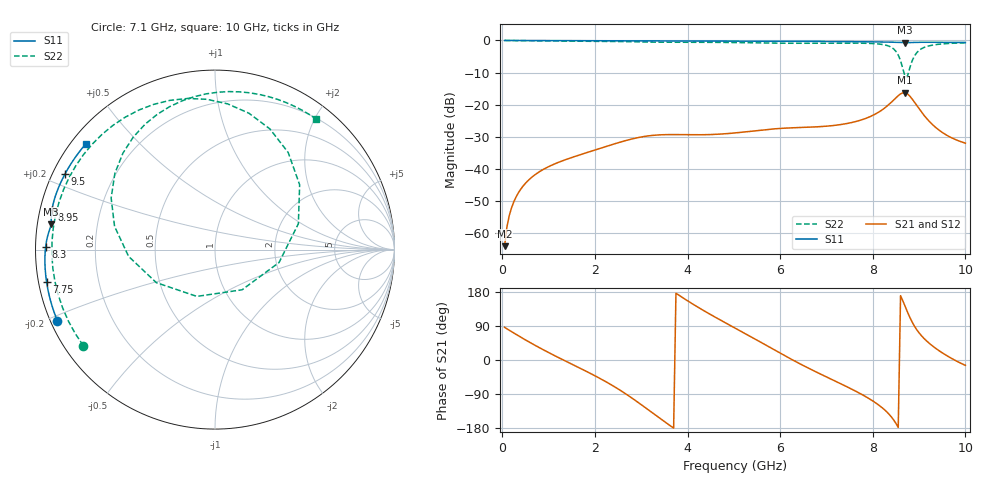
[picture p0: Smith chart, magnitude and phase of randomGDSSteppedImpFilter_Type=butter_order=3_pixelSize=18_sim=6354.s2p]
! freq	dB(S11)	phase(S11)	dB(S12)	phase(S12)
!  dB(S21)	phase(S21)	dB(S22)	phase(S22)
!S-par simulation data
#  GHz  S  DB  R 50
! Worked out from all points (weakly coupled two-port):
!   200 points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, 50 MHz to 10 GHz, reference 50 ohm
!   highest |S21| = -16.27 dB at 8.7 GHz (marker M1); lowest = -63.9 dB at 50 MHz (marker M2)
!   lowest |S11| = -0.7 dB at 8.7 GHz (marker M3), VSWR 25.42, Z = 1.98 + j3.82 ohm
!   |S11| at or under -10 dB: nowhere
!   |S22| runs from -11.4 to 0.0 dB; largest |S21 - S12| = 0
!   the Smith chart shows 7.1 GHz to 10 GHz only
!   S11 on the Smith chart (normalised r, x): 7.1 GHz: 0.02, -0.22; 7.75 GHz: 0.02, -0.10; 8.3 GHz: 0.03, +0.01; 8.95 GHz: 0.03, +0.12; 9.5 GHz: 0.04, +0.24; 10 GHz: 0.04, +0.36
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0.05  -0.00 -1.3  -63.94 86.1  -63.94 86.1  -0.00 -6.3
0.25  -0.01 -6.2  -50.11 71.1  -50.11 71.1  -0.05 -31.3
0.8  -0.03 -19.7  -40.81 32.6  -40.81 32.6  -0.12 -95.4
1.75  -0.06 -42.6  -35.20 -26.0  -35.20 -26.0  -0.20 168.1
2.55  -0.08 -61.1  -31.59 -80.2  -31.59 -80.2  -0.35 78.0
3  -0.10 -71.2  -30.00 -117.8  -30.00 -117.8  -0.47 14.8
3.4  -0.11 -80.0  -29.34 -153.7  -29.34 -153.7  -0.54 -44.8
3.8  -0.13 -88.6  -29.26 172.1  -29.26 172.1  -0.56 -100.0
4.3  -0.14 -99.2  -29.31 133.9  -29.31 133.9  -0.57 -159.8
5.05  -0.18 -114.6  -28.71 82.6  -28.71 82.6  -0.65 116.7
5.45  -0.20 -122.7  -28.09 55.8  -28.09 55.8  -0.74 67.7
5.9  -0.23 -131.7  -27.45 25.0  -27.45 25.0  -0.84 6.5
6.7  -0.29 -147.6  -26.91 -27.0  -26.91 -27.0  -0.87 -99.8
7.1  -0.32 -155.7  -26.52 -50.5  -26.52 -50.5  -0.84 -143.8
7.75  -0.40 -169.1  -24.72 -90.0  -24.72 -90.0  -0.85 153.7
8.3  -0.50 179.1  -20.50 -136.6  -20.50 -136.6  -1.53 93.0
8.35  -0.52 178.0  -19.88 -142.9  -19.88 -142.9  -1.78 85.1
8.55  -0.63 173.8  -17.16 -178.0  -17.16 -178.0  -4.52 37.5
8.7  -0.68 171.3  -16.27 141.2  -16.27 141.2  -11.37 -56.0
8.95  -0.58 166.2  -20.22 79.9  -20.22 79.9  -3.79 153.6
9.5  -0.58 153.1  -28.59 19.0  -28.59 19.0  -1.07 85.0
10  -0.63 140.7  -31.93 -14.2  -31.93 -14.2  -0.72 52.1
